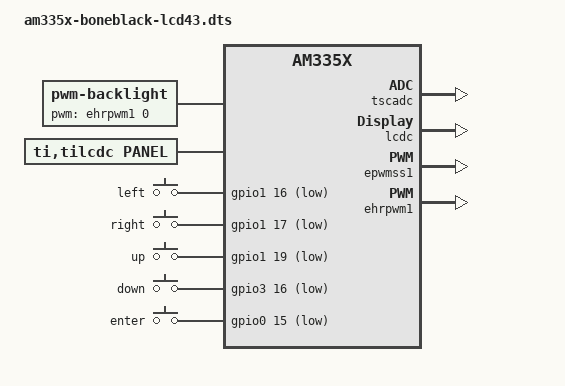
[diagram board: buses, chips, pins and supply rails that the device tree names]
/*
 * Copyright (C) 2012 Texas Instruments Incorporated - http://www.ti.com/
 *
 * This program is free software; you can redistribute it and/or modify
 * it under the terms of the GNU General Public License version 2 as
 * published by the Free Software Foundation.
 *
 * Copyright (C) 2019-2021 Bootlin SAS - https://bootlin.com
 * Adapted from DT overlay sources for the 4.3" cape from Element14
 * https://www.element14.com/bbcape43
 */
/dts-v1/;

#include "am335x-boneblack.dts"

/ {
	backlight {
		compatible      = "pwm-backlight";
		pinctrl-names   = "default";
		pinctrl-0       = <&bb_lcd_pwm_backlight_pins>;
		pwms = <&ehrpwm1 0 500000 0>;
		pwm-names = "LCD4";
		brightness-levels = <0 1 2 3 4 5 6 7 8 9 10 11 12 13 14 15 16 17 18 19 20 21 22 23 24 25 26 27 28 29 30 31 32 33 34 35 36 37 38 39 40 41 42 43 44 45 46 47 48 49 50 51 52 53 54 55 56 57 58 59 60 61 62 63 64 65 66 67 68 69 70 71 72 73 74 75 76 77 78 79 80 81 82 83 84 85 86 87 88 89 90 91 92 93 94 95 96 97 98 99 100>;
		default-brightness-level = <100>; /* index to the array above */
		status = "okay";
	};

			/* Settings for NHD-4.3-ATXI#-T-1 / LCD4 cape: */
	panel {
		compatible = "ti,tilcdc,panel";
		pinctrl-names = "default";
		pinctrl-0 = <&bb_lcd_lcd_pins>;
		status = "okay";
		panel-info {
			ac-bias           = <255>;
			ac-bias-intrpt    = <0>;
			dma-burst-sz      = <16>;
			bpp               = <16>;
			fdd               = <128>;
			sync-edge         = <0>;
			sync-ctrl         = <1>;
			raster-order      = <0>;
			fifo-th           = <0>;
		};
		display-timings {
			native-mode = <&timing0>;
			timing0: 480x272 {
				clock-frequency = <9200000>;
				pixelclk-active = <0>;
				de-active = <1>;
				hactive = <480>;
				vactive = <272>;
				hfront-porch = <8>;
				hback-porch = <47>;
				hsync-len = <41>;
				vback-porch = <2>;
				vfront-porch = <3>;
				vsync-len = <10>;
				hsync-active = <0>;
				vsync-active = <0>;
			};
		};
	};

	gpio-keys {
		compatible = "gpio-keys";
		pinctrl-names = "default";
		pinctrl-0 = <&bb_lcd_keymap_pins>;

		button-1 {
			debounce_interval = <50>;
			linux,code = <105>;
			label = "left";
			gpios = <&gpio1 16 0x1>;
			gpio-key,wakeup;
			autorepeat;
		};
		button-2 {
			debounce_interval = <50>;
			linux,code = <106>;
			label = "right";
			gpios = <&gpio1 17 0x1>;
			gpio-key,wakeup;
			autorepeat;
		};
		button-3 {
			debounce_interval = <50>;
			linux,code = <103>;
			label = "up";
			gpios = <&gpio1 19 0x1>;
			gpio-key,wakeup;
			autorepeat;
		};
		button-4 {
			debounce_interval = <50>;
			linux,code = <108>;
			label = "down";
			gpios = <&gpio3 16 0x1>;
			gpio-key,wakeup;
			autorepeat;
		};
		button-5 {
			debounce_interval = <50>;
			linux,code = <28>;
			label = "enter";
			gpios = <&gpio0 15 0x1>;
			gpio-key,wakeup;
		};
	};

};


&tscadc {
	status = "okay";
	tsc {
		ti,wires = <4>;
		ti,x-plate-resistance = <200>;
		ti,coordinate-readouts = <5>;
		ti,wire-config = <0x00 0x11 0x22 0x33>;
		ti,charge-delay = <0x400>;
	};

	adc {
		ti,adc-channels = <4 5 6 7>;
	};
};

&am33xx_pinmux {
	bb_lcd_pwm_backlight_pins: pinmux_bb_lcd_pwm_backlight_pins {
		pinctrl-single,pins = <
			AM33XX_PADCONF(AM335X_PIN_GPMC_A2, PIN_OUTPUT_PULLDOWN, MUX_MODE6)	/* P9_14: gpmc_a2.ehrpwm1a */
		>;
	};

	bb_lcd_lcd_pins: pinmux_bb_lcd_lcd_pins {
		pinctrl-single,pins = <
			/* Bootlin boot time labs: use idle pin as custom GPIO on P9_13 */
			AM33XX_PADCONF(AM335X_PIN_GPMC_WPN, PIN_OUTPUT, MUX_MODE7)

			AM33XX_PADCONF(AM335X_PIN_MCASP0_FSR, PIN_OUTPUT_PULLUP, MUX_MODE7)		/* P9_27: mcasp0_fsr.gpio3_19 */
                        AM33XX_PADCONF(AM335X_PIN_LCD_DATA0, PIN_OUTPUT, MUX_MODE0)                     /* lcd_data0 */
                        AM33XX_PADCONF(AM335X_PIN_LCD_DATA1, PIN_OUTPUT, MUX_MODE0)                     /* lcd_data1 */
                        AM33XX_PADCONF(AM335X_PIN_LCD_DATA2, PIN_OUTPUT, MUX_MODE0)                     /* lcd_data2 */
                        AM33XX_PADCONF(AM335X_PIN_LCD_DATA3, PIN_OUTPUT, MUX_MODE0)                     /* lcd_data3 */
                        AM33XX_PADCONF(AM335X_PIN_LCD_DATA4, PIN_OUTPUT, MUX_MODE0)                     /* lcd_data4 */
                        AM33XX_PADCONF(AM335X_PIN_LCD_DATA5, PIN_OUTPUT, MUX_MODE0)                     /* lcd_data5 */
                        AM33XX_PADCONF(AM335X_PIN_LCD_DATA6, PIN_OUTPUT, MUX_MODE0)                     /* lcd_data6 */
                        AM33XX_PADCONF(AM335X_PIN_LCD_DATA7, PIN_OUTPUT, MUX_MODE0)                     /* lcd_data7 */
                        AM33XX_PADCONF(AM335X_PIN_LCD_DATA8, PIN_OUTPUT, MUX_MODE0)                     /* lcd_data8 */
                        AM33XX_PADCONF(AM335X_PIN_LCD_DATA9, PIN_OUTPUT, MUX_MODE0)                     /* lcd_data9 */
                        AM33XX_PADCONF(AM335X_PIN_LCD_DATA10, PIN_OUTPUT, MUX_MODE0)                    /* lcd_data10 */
                        AM33XX_PADCONF(AM335X_PIN_LCD_DATA11, PIN_OUTPUT, MUX_MODE0)                    /* lcd_data11 */
                        AM33XX_PADCONF(AM335X_PIN_LCD_DATA12, PIN_OUTPUT, MUX_MODE0)                    /* lcd_data12 */
                        AM33XX_PADCONF(AM335X_PIN_LCD_DATA13, PIN_OUTPUT, MUX_MODE0)                    /* lcd_data13 */
                        AM33XX_PADCONF(AM335X_PIN_LCD_DATA14, PIN_OUTPUT, MUX_MODE0)                    /* lcd_data14 */
                        AM33XX_PADCONF(AM335X_PIN_LCD_DATA15, PIN_OUTPUT, MUX_MODE0)                    /* lcd_data15 */
                        AM33XX_PADCONF(AM335X_PIN_LCD_VSYNC, PIN_OUTPUT, MUX_MODE0)                     /* lcd_vsync */
                        AM33XX_PADCONF(AM335X_PIN_LCD_HSYNC, PIN_OUTPUT, MUX_MODE0)                     /* lcd_hsync */
                        AM33XX_PADCONF(AM335X_PIN_LCD_PCLK, PIN_OUTPUT, MUX_MODE0)                      /* lcd_pclk */
                        AM33XX_PADCONF(AM335X_PIN_LCD_AC_BIAS_EN, PIN_OUTPUT, MUX_MODE0)                /* lcd_ac_bias_en */
		>;
	};

	bb_lcd_keymap_pins: pinmux_bb_lcd_keymap_pins {
		pinctrl-single,pins = <
			AM33XX_PADCONF(AM335X_PIN_GPMC_A0, PIN_INPUT, MUX_MODE7)	/* P9_15: gpmc_a0.gpio1_16 */
			AM33XX_PADCONF(AM335X_PIN_GPMC_A1, PIN_INPUT, MUX_MODE7)	/* P9_23: gpmc_a1.gpio1_17 */
			AM33XX_PADCONF(AM335X_PIN_GPMC_A3, PIN_INPUT, MUX_MODE7)	/* P9_16: gpmc_a3.gpio1_19 */
			AM33XX_PADCONF(AM335X_PIN_MCASP0_AXR0, PIN_INPUT, MUX_MODE7)	/* P9_30: mcasp0_axr0.gpio3_16 */
			AM33XX_PADCONF(AM335X_PIN_UART1_TXD, PIN_INPUT, MUX_MODE7)	/* P9_24: uart1_txd.gpio0_15 */
		>;
	};
};

&lcdc {
	/delete-node/ port;
};

&tda19988 {
	/delete-node/ ports;
};

&epwmss1 {
	status = "okay";
};

&ehrpwm1 {
	status = "okay";
};

&lcdc {
	status = "okay";
};
